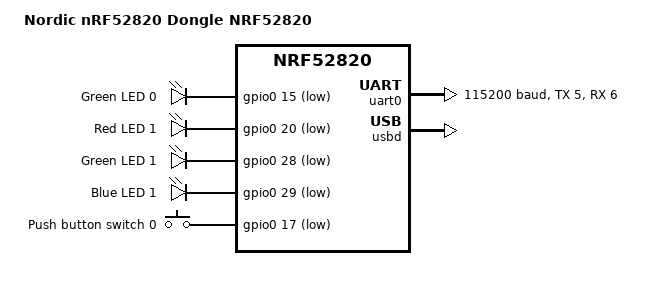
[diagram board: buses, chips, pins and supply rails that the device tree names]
/*
 * Copyright (c) 2020 Nordic Semiconductor ASA
 *
 * SPDX-License-Identifier: LicenseRef-Nordic-5-Clause
 */

/dts-v1/;
#include <nordic/nrf52820_qdaa.dtsi>

/ {
	model = "Nordic nRF52820 Dongle NRF52820";
	compatible = "nordic,nrf52820-dongle-nrf52820";

	chosen {
		zephyr,console = &uart0;
		zephyr,sram = &sram0;
		zephyr,flash = &flash0;
		zephyr,code-partition = &slot0_partition;
	};

	leds {
		compatible = "gpio-leds";
		led0_green: led_0 {
			gpios = <&gpio0 15 GPIO_ACTIVE_LOW>;
			label = "Green LED 0";
		};
		led1_red: led_1 {
			gpios = <&gpio0 20 GPIO_ACTIVE_LOW>;
			label = "Red LED 1";
		};
		led1_green: led_2 {
			gpios = <&gpio0 28 GPIO_ACTIVE_LOW>;
			label = "Green LED 1";
		};
		led1_blue: led_3 {
			gpios = <&gpio0 29 GPIO_ACTIVE_LOW>;
			label = "Blue LED 1";
		};
	};

	buttons {
		compatible = "gpio-keys";
		button0: button_0 {
			gpios = <&gpio0 17 (GPIO_PULL_UP | GPIO_ACTIVE_LOW)>;
			label = "Push button switch 0";
		};
	};

	/* These aliases are provided for compatibility with samples */
	aliases {
		sw0 = &button0;
		led0 = &led0_green;
		led1 = &led1_red;
		led2 = &led1_green;
		led3 = &led1_blue;
		led0-green = &led0_green;
		led1-red   = &led1_red;
		led1-green = &led1_green;
		led1-blue  = &led1_blue;
	};
};

&gpiote {
	status = "okay";
};

&gpio0 {
	status = "okay";
};

&uart0 {
	compatible = "nordic,nrf-uart";
	status = "okay";
	current-speed = <115200>;
	tx-pin = <5>;
	rx-pin = <6>;
	rts-pin = <7>;
	cts-pin = <8>;
};

&flash0 {
	/*
	 * For more information, see:
	 * http://docs.zephyrproject.org/latest/guides/dts/index.html#flash-partitions
	 */
	partitions {
		compatible = "fixed-partitions";
		#address-cells = <1>;
		#size-cells = <1>;

		boot_partition: partition@0 {
			label = "mcuboot";
			reg = <0x000000000 0xd000>;
		};
		slot0_partition: partition@d000 {
			label = "image-0";
			reg = <0x0000d000 0x30000>;
		};
		slot1_partition: partition@3d000 {
			label = "image-1";
			reg = <0x0003d000 0x1000>;
		};
		storage_partition: partition@3e000 {
			label = "storage";
			reg = <0x0003e000 0x00002000>;
		};
	};
};

&usbd {
	compatible = "nordic,nrf-usbd";
	status = "okay";
};
